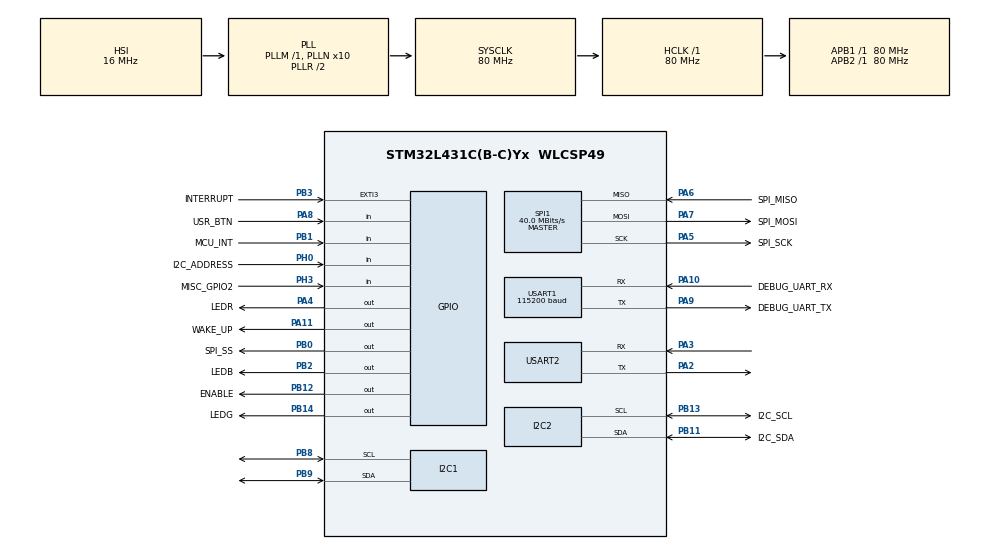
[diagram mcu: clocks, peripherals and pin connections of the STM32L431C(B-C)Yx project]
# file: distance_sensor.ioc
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Dma.Request0=SPI1_RX
Dma.Request1=SPI1_TX
Dma.Request2=USART1_RX
Dma.Request3=USART1_TX
Dma.Request4=USART2_RX
Dma.Request5=USART2_TX
Dma.SPI1_RX.0.Direction=DMA_PERIPH_TO_MEMORY
Dma.SPI1_RX.0.Instance=DMA1_Channel2
Dma.SPI1_RX.0.MemDataAlignment=DMA_MDATAALIGN_HALFWORD
Dma.SPI1_RX.0.MemInc=DMA_MINC_ENABLE
Dma.SPI1_RX.0.Mode=DMA_NORMAL
Dma.SPI1_RX.0.PeriphDataAlignment=DMA_PDATAALIGN_HALFWORD
Dma.SPI1_RX.0.PeriphInc=DMA_PINC_DISABLE
Dma.SPI1_RX.0.Priority=DMA_PRIORITY_LOW
Dma.SPI1_TX.1.Direction=DMA_MEMORY_TO_PERIPH
Dma.SPI1_TX.1.Instance=DMA1_Channel3
Dma.SPI1_TX.1.MemDataAlignment=DMA_MDATAALIGN_HALFWORD
Dma.SPI1_TX.1.MemInc=DMA_MINC_ENABLE
Dma.SPI1_TX.1.Mode=DMA_NORMAL
Dma.SPI1_TX.1.PeriphDataAlignment=DMA_PDATAALIGN_HALFWORD
Dma.SPI1_TX.1.PeriphInc=DMA_PINC_DISABLE
Dma.SPI1_TX.1.Priority=DMA_PRIORITY_LOW
Dma.USART1_RX.2.Direction=DMA_PERIPH_TO_MEMORY
Dma.USART1_RX.2.Instance=DMA2_Channel7
Dma.USART1_RX.2.MemDataAlignment=DMA_MDATAALIGN_BYTE
Dma.USART1_RX.2.MemInc=DMA_MINC_ENABLE
Dma.USART1_RX.2.Mode=DMA_NORMAL
Dma.USART1_RX.2.PeriphDataAlignment=DMA_PDATAALIGN_BYTE
Dma.USART1_RX.2.PeriphInc=DMA_PINC_DISABLE
Dma.USART1_RX.2.Priority=DMA_PRIORITY_LOW
Dma.USART1_TX.3.Direction=DMA_MEMORY_TO_PERIPH
Dma.USART1_TX.3.Instance=DMA2_Channel6
Dma.USART1_TX.3.MemDataAlignment=DMA_MDATAALIGN_BYTE
Dma.USART1_TX.3.MemInc=DMA_MINC_ENABLE
Dma.USART1_TX.3.Mode=DMA_NORMAL
Dma.USART1_TX.3.PeriphDataAlignment=DMA_PDATAALIGN_BYTE
Dma.USART1_TX.3.PeriphInc=DMA_PINC_DISABLE
Dma.USART1_TX.3.Priority=DMA_PRIORITY_LOW
Dma.USART2_RX.4.Direction=DMA_PERIPH_TO_MEMORY
Dma.USART2_RX.4.Instance=DMA1_Channel6
Dma.USART2_RX.4.MemDataAlignment=DMA_MDATAALIGN_BYTE
Dma.USART2_RX.4.MemInc=DMA_MINC_ENABLE
Dma.USART2_RX.4.Mode=DMA_NORMAL
Dma.USART2_RX.4.PeriphDataAlignment=DMA_PDATAALIGN_BYTE
Dma.USART2_RX.4.PeriphInc=DMA_PINC_DISABLE
Dma.USART2_RX.4.Priority=DMA_PRIORITY_LOW
Dma.USART2_TX.5.Direction=DMA_MEMORY_TO_PERIPH
Dma.USART2_TX.5.Instance=DMA1_Channel7
Dma.USART2_TX.5.MemDataAlignment=DMA_MDATAALIGN_BYTE
Dma.USART2_TX.5.MemInc=DMA_MINC_ENABLE
Dma.USART2_TX.5.Mode=DMA_NORMAL
Dma.USART2_TX.5.PeriphDataAlignment=DMA_PDATAALIGN_BYTE
Dma.USART2_TX.5.PeriphInc=DMA_PINC_DISABLE
Dma.USART2_TX.5.Priority=DMA_PRIORITY_LOW
I2C1.Timing=0x10D19CE4
I2C2.OwnAddress=0x52
I2C2.Timing=0x10D19CE4
Mcu.Family=STM32L4
Mcu.Name=STM32L431C(B-C)Yx
Mcu.Package=WLCSP49
NVIC.DMA1_Channel2_IRQn=true\:0\:0\:false\:false\:true\:false\:true\:true
NVIC.DMA1_Channel3_IRQn=true\:0\:0\:false\:false\:true\:false\:true\:true
NVIC.DMA1_Channel6_IRQn=true\:0\:0\:false\:false\:true\:false\:true\:true
NVIC.DMA1_Channel7_IRQn=true\:0\:0\:false\:false\:true\:false\:true\:true
NVIC.DMA2_Channel6_IRQn=true\:0\:0\:false\:false\:true\:false\:true\:true
NVIC.DMA2_Channel7_IRQn=true\:0\:0\:false\:false\:true\:false\:true\:true
NVIC.EXTI3_IRQn=true\:0\:0\:false\:false\:true\:true\:true\:true
NVIC.I2C2_EV_IRQn=true\:0\:0\:false\:false\:true\:true\:true\:true
NVIC.PriorityGroup=NVIC_PRIORITYGROUP_4
NVIC.RTC_Alarm_IRQn=true\:0\:0\:false\:false\:true\:true\:true\:true
NVIC.RTC_WKUP_IRQn=true\:0\:0\:false\:false\:true\:true\:true\:true
NVIC.USART1_IRQn=true\:0\:0\:false\:false\:true\:true\:true\:true
NVIC.USART2_IRQn=true\:0\:0\:false\:false\:true\:true\:true\:true
PA10.GPIO_Label=DEBUG_UART_RX
PA10.GPIO_PuPd=GPIO_PULLUP
PA10.Mode=Asynchronous
PA10.Signal=USART1_RX
PA11.GPIO_Label=WAKE_UP
PA11.GPIO_ModeDefaultOutputPP=GPIO_MODE_OUTPUT_PP
PA11.GPIO_PuPd=GPIO_PULLUP
PA11.GPIO_Speed=GPIO_SPEED_FREQ_VERY_HIGH
PA11.PinState=GPIO_PIN_SET
PA11.Signal=GPIO_Output
PA2.Mode=Asynchronous
PA2.Signal=USART2_TX
PA3.Mode=Asynchronous
PA3.Signal=USART2_RX
PA4.GPIO_Label=LEDR
PA4.PinState=GPIO_PIN_SET
PA4.Signal=GPIO_Output
PA5.GPIO_Label=SPI_SCK
PA5.Mode=Full_Duplex_Master
PA5.Signal=SPI1_SCK
PA6.GPIO_Label=SPI_MISO
PA6.Mode=Full_Duplex_Master
PA6.Signal=SPI1_MISO
PA7.GPIO_Label=SPI_MOSI
PA7.Mode=Full_Duplex_Master
PA7.Signal=SPI1_MOSI
PA8.GPIO_Label=USR_BTN
PA8.Signal=GPIO_Input
PA9.GPIO_Label=DEBUG_UART_TX
PA9.Mode=Asynchronous
PA9.Signal=USART1_TX
PB0.GPIO_Label=SPI_SS
PB0.GPIO_ModeDefaultOutputPP=GPIO_MODE_OUTPUT_PP
PB0.GPIO_Speed=GPIO_SPEED_FREQ_VERY_HIGH
PB0.Signal=GPIO_Output
PB1.GPIO_Label=MCU_INT
PB1.GPIO_PuPd=GPIO_PULLUP
PB1.Signal=GPIO_Input
PB11.GPIO_Label=I2C_SDA
PB11.GPIO_Pu=GPIO_PULLUP
PB11.Mode=I2C
PB11.Signal=I2C2_SDA
PB12.GPIO_Label=ENABLE
PB12.GPIO_Speed=GPIO_SPEED_FREQ_VERY_HIGH
PB12.PinState=GPIO_PIN_RESET
PB12.Signal=GPIO_Output
PB13.GPIO_Label=I2C_SCL
PB13.GPIO_Pu=GPIO_PULLUP
PB13.Mode=I2C
PB13.Signal=I2C2_SCL
PB14.GPIO_Label=LEDG
PB14.PinState=GPIO_PIN_SET
PB14.Signal=GPIO_Output
PB2.GPIO_Label=LEDB
PB2.PinState=GPIO_PIN_SET
PB2.Signal=GPIO_Output
PB3\ (JTDO-TRACESWO).GPIO_Label=INTERRUPT
PB3\ (JTDO-TRACESWO).GPIO_PuPd=GPIO_PULLDOWN
PB3\ (JTDO-TRACESWO).Signal=GPXTI3
PB8.Mode=I2C
PB8.Signal=I2C1_SCL
PB9.Mode=I2C
PB9.Signal=I2C1_SDA
PH0-OSC_IN\ (PH0).GPIO_Label=I2C_ADDRESS
PH0-OSC_IN\ (PH0).GPIO_PuPd=GPIO_PULLDOWN
PH0-OSC_IN\ (PH0).Signal=GPIO_Input
PH3-BOOT0.GPIO_Label=MISC_GPIO2
PH3-BOOT0.GPIO_PuPd=GPIO_PULLDOWN
PH3-BOOT0.Signal=GPIO_Input
ProjectManager.HeapSize=0x200
ProjectManager.StackSize=0x1400
ProjectManager.TargetToolchain=STM32CubeIDE
RCC.ADCFreq_Value=64000000
RCC.AHBFreq_Value=80000000
RCC.APB1Freq_Value=80000000
RCC.APB1TimFreq_Value=80000000
RCC.APB2Freq_Value=80000000
RCC.APB2TimFreq_Value=80000000
RCC.CortexFreq_Value=80000000
RCC.HCLKFreq_Value=80000000
RCC.HSE_VALUE=8000000
RCC.HSI48_VALUE=48000000
RCC.HSI_VALUE=16000000
RCC.LSE_VALUE=32768
RCC.MSI_VALUE=4000000
RCC.PLLN=10
RCC.PLLSourceVirtual=RCC_PLLSOURCE_HSI
RCC.SYSCLKFreq_VALUE=80000000
RCC.SYSCLKSource=RCC_SYSCLKSOURCE_PLLCLK
RCC.VCOOutputFreq_Value=160000000
RTC.Alarm-Alarm\ A=RTC_ALARM_A
RTC.AsynchPrediv=31
RTC.Format=RTC_FORMAT_BIN
RTC.SynchPrediv=999
SPI1.BaudRatePrescaler=SPI_BAUDRATEPRESCALER_2
SPI1.CalculateBaudRate=40.0 MBits/s
SPI1.DataSize=SPI_DATASIZE_16BIT
SPI1.Direction=SPI_DIRECTION_2LINES
SPI1.Mode=SPI_MODE_MASTER
SPI1.VirtualType=VM_MASTER
USART1.BaudRate=115200
USART1.VirtualMode-Asynchronous=VM_ASYNC
USART2.VirtualMode-Asynchronous=VM_ASYNC
VP_RTC_VS_RTC_Activate.Mode=RTC_Enabled
VP_RTC_VS_RTC_Alarm_A_Intern.Mode=Alarm A
VP_RTC_VS_RTC_Calendar.Mode=RTC_Calendar
VP_RTC_VS_RTC_WakeUp_intern.Mode=WakeUp
board=custom

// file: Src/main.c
/* USER CODE BEGIN Header */
/**
 ******************************************************************************
 * @file           : main.c
 * @brief          : Main program body
 ******************************************************************************
 * @attention
 *
 * <h2><center>&copy; Copyright (c) 2022 STMicroelectronics.
 * All rights reserved.</center></h2>
 *
 * This software component is licensed by ST under BSD 3-Clause license,
 * the "License"; You may not use this file except in compliance with the
 * License. You may obtain a copy of the License at:
 *                        opensource.org/licenses/BSD-3-Clause
 *
 ******************************************************************************
 */
/* USER CODE END Header */
#include "main.h"

/* USER CODE BEGIN Includes */

#include <inttypes.h>
#include <stdbool.h>
#include <stdio.h>
#include "ring_buffer.h"
#include "acc_integration.h"

/* USER CODE END Includes */

/* USER CODE BEGIN PD */

extern int acconeer_main(int argc, char *argv[]);

/* USER CODE END PD */

I2C_HandleTypeDef hi2c1;
I2C_HandleTypeDef hi2c2;

RTC_HandleTypeDef hrtc;

SPI_HandleTypeDef hspi1;
DMA_HandleTypeDef hdma_spi1_rx;
DMA_HandleTypeDef hdma_spi1_tx;

UART_HandleTypeDef huart1;
UART_HandleTypeDef huart2;
DMA_HandleTypeDef hdma_usart1_rx;
DMA_HandleTypeDef hdma_usart1_tx;
DMA_HandleTypeDef hdma_usart2_rx;
DMA_HandleTypeDef hdma_usart2_tx;

void SystemClock_Config(void);
static void MX_GPIO_Init(void);
static void MX_DMA_Init(void);
static void MX_SPI1_Init(void);
static void MX_I2C2_Init(void);
static void MX_USART1_UART_Init(void);
static void MX_RTC_Init(void);
static void MX_I2C1_Init(void);
static void MX_USART2_UART_Init(void);

int main(void)
{

  /* MCU Configuration--------------------------------------------------------*/

  /* Reset of all peripherals, Initializes the Flash interface and the Systick. */
  HAL_Init();

  /* Configure the system clock */
  SystemClock_Config();

  /* Initialize all configured peripherals */
  MX_GPIO_Init();
  MX_DMA_Init();
  MX_SPI1_Init();
  MX_I2C2_Init();
  MX_USART1_UART_Init();
  MX_RTC_Init();
  MX_I2C1_Init();
  MX_USART2_UART_Init();
  /* USER CODE BEGIN 2 */

	HAL_GPIO_TogglePin(LEDR_GPIO_Port, LEDR_Pin);
	HAL_Delay(1000);

	HAL_GPIO_TogglePin(LEDG_GPIO_Port, LEDG_Pin);
	HAL_Delay(1000);
	HAL_GPIO_TogglePin(LEDR_GPIO_Port, LEDR_Pin);
	HAL_Delay(1000);
	HAL_GPIO_TogglePin(LEDB_GPIO_Port, LEDB_Pin);
	HAL_Delay(1000);
	HAL_GPIO_TogglePin(LEDG_GPIO_Port, LEDG_Pin);
	HAL_Delay(1000);
	HAL_GPIO_TogglePin(LEDR_GPIO_Port, LEDR_Pin);
	HAL_Delay(1000);
	HAL_GPIO_TogglePin(LEDG_GPIO_Port, LEDG_Pin);
	HAL_Delay(1000);
	HAL_GPIO_TogglePin(LEDG_GPIO_Port, LEDG_Pin);
	HAL_GPIO_TogglePin(LEDR_GPIO_Port, LEDR_Pin);
	HAL_GPIO_TogglePin(LEDB_GPIO_Port, LEDB_Pin);

  //uart_start_ring_buffer();
	uart_start_ring_buffer();

  acconeer_main(0, NULL);
  /* USER CODE END 2 */

  /* Infinite loop */
	while (1){

    /* USER CODE BEGIN 3 */
        /* Drive PA2 LOW */
		//HAL_UART_Transmit_DMA(&huart2,(uint8_t *)at_cmd,sizeof(at_cmd) - 1);
		//HAL_Delay(1000);

		/* Small delay so frames are readable on scope/logic analyzer */
		HAL_Delay(3000);
	}
  /* USER CODE END 3 */
}

void SystemClock_Config(void)
{
  RCC_OscInitTypeDef RCC_OscInitStruct = {0};
  RCC_ClkInitTypeDef RCC_ClkInitStruct = {0};

  /** Configure the main internal regulator output voltage
  */
  if (HAL_PWREx_ControlVoltageScaling(PWR_REGULATOR_VOLTAGE_SCALE1) != HAL_OK)
  {
    Error_Handler();
  }

  /** Initializes the RCC Oscillators according to the specified parameters
  * in the RCC_OscInitTypeDef structure.
  */
  RCC_OscInitStruct.OscillatorType = RCC_OSCILLATORTYPE_HSI|RCC_OSCILLATORTYPE_LSI;
  RCC_OscInitStruct.HSIState = RCC_HSI_ON;
  RCC_OscInitStruct.HSICalibrationValue = RCC_HSICALIBRATION_DEFAULT;
  RCC_OscInitStruct.LSIState = RCC_LSI_ON;
  RCC_OscInitStruct.PLL.PLLState = RCC_PLL_ON;
  RCC_OscInitStruct.PLL.PLLSource = RCC_PLLSOURCE_HSI;
  RCC_OscInitStruct.PLL.PLLM = 1;
  RCC_OscInitStruct.PLL.PLLN = 10;
  RCC_OscInitStruct.PLL.PLLP = RCC_PLLP_DIV7;
  RCC_OscInitStruct.PLL.PLLQ = RCC_PLLQ_DIV2;
  RCC_OscInitStruct.PLL.PLLR = RCC_PLLR_DIV2;
  if (HAL_RCC_OscConfig(&RCC_OscInitStruct) != HAL_OK)
  {
    Error_Handler();
  }

  /** Initializes the CPU, AHB and APB buses clocks
  */
  RCC_ClkInitStruct.ClockType = RCC_CLOCKTYPE_HCLK|RCC_CLOCKTYPE_SYSCLK
                              |RCC_CLOCKTYPE_PCLK1|RCC_CLOCKTYPE_PCLK2;
  RCC_ClkInitStruct.SYSCLKSource = RCC_SYSCLKSOURCE_PLLCLK;
  RCC_ClkInitStruct.AHBCLKDivider = RCC_SYSCLK_DIV1;
  RCC_ClkInitStruct.APB1CLKDivider = RCC_HCLK_DIV1;
  RCC_ClkInitStruct.APB2CLKDivider = RCC_HCLK_DIV1;

  if (HAL_RCC_ClockConfig(&RCC_ClkInitStruct, FLASH_LATENCY_4) != HAL_OK)
  {
    Error_Handler();
  }
}

static void MX_I2C1_Init(void)
{

  hi2c1.Instance = I2C1;
  hi2c1.Init.Timing = 0x10D19CE4;
  hi2c1.Init.OwnAddress1 = 0;
  hi2c1.Init.AddressingMode = I2C_ADDRESSINGMODE_7BIT;
  hi2c1.Init.DualAddressMode = I2C_DUALADDRESS_DISABLE;
  hi2c1.Init.OwnAddress2 = 0;
  hi2c1.Init.OwnAddress2Masks = I2C_OA2_NOMASK;
  hi2c1.Init.GeneralCallMode = I2C_GENERALCALL_DISABLE;
  hi2c1.Init.NoStretchMode = I2C_NOSTRETCH_DISABLE;
  if (HAL_I2C_Init(&hi2c1) != HAL_OK)
  {
    Error_Handler();
  }

  /** Configure Analogue filter
  */
  if (HAL_I2CEx_ConfigAnalogFilter(&hi2c1, I2C_ANALOGFILTER_ENABLE) != HAL_OK)
  {
    Error_Handler();
  }

  /** Configure Digital filter
  */
  if (HAL_I2CEx_ConfigDigitalFilter(&hi2c1, 0) != HAL_OK)
  {
    Error_Handler();
  }

}

static void MX_I2C2_Init(void)
{

  hi2c2.Instance = I2C2;
  hi2c2.Init.Timing = 0x10D19CE4;
  hi2c2.Init.OwnAddress1 = 164;
  hi2c2.Init.AddressingMode = I2C_ADDRESSINGMODE_7BIT;
  hi2c2.Init.DualAddressMode = I2C_DUALADDRESS_DISABLE;
  hi2c2.Init.OwnAddress2 = 0;
  hi2c2.Init.OwnAddress2Masks = I2C_OA2_NOMASK;
  hi2c2.Init.GeneralCallMode = I2C_GENERALCALL_DISABLE;
  hi2c2.Init.NoStretchMode = I2C_NOSTRETCH_DISABLE;
  if (HAL_I2C_Init(&hi2c2) != HAL_OK)
  {
    Error_Handler();
  }

  /** Configure Analogue filter
  */
  if (HAL_I2CEx_ConfigAnalogFilter(&hi2c2, I2C_ANALOGFILTER_ENABLE) != HAL_OK)
  {
    Error_Handler();
  }

  /** Configure Digital filter
  */
  if (HAL_I2CEx_ConfigDigitalFilter(&hi2c2, 0) != HAL_OK)
  {
    Error_Handler();
  }

}

static void MX_RTC_Init(void)
{

  RTC_TimeTypeDef sTime = {0};
  RTC_DateTypeDef sDate = {0};
  RTC_AlarmTypeDef sAlarm = {0};

  /** Initialize RTC Only
  */
  hrtc.Instance = RTC;
  hrtc.Init.HourFormat = RTC_HOURFORMAT_24;
  hrtc.Init.AsynchPrediv = 31;
  hrtc.Init.SynchPrediv = 999;
  hrtc.Init.OutPut = RTC_OUTPUT_DISABLE;
  hrtc.Init.OutPutRemap = RTC_OUTPUT_REMAP_NONE;
  hrtc.Init.OutPutPolarity = RTC_OUTPUT_POLARITY_HIGH;
  hrtc.Init.OutPutType = RTC_OUTPUT_TYPE_OPENDRAIN;
  if (HAL_RTC_Init(&hrtc) != HAL_OK)
  {
    Error_Handler();
  }

  /** Initialize RTC and set the Time and Date
  */
  sTime.Hours = 0;
  sTime.Minutes = 0;
  sTime.Seconds = 0;
  sTime.DayLightSaving = RTC_DAYLIGHTSAVING_NONE;
  sTime.StoreOperation = RTC_STOREOPERATION_RESET;
  if (HAL_RTC_SetTime(&hrtc, &sTime, RTC_FORMAT_BIN) != HAL_OK)
  {
    Error_Handler();
  }
  sDate.WeekDay = RTC_WEEKDAY_MONDAY;
  sDate.Month = RTC_MONTH_JANUARY;
  sDate.Date = 1;
  sDate.Year = 0;

  if (HAL_RTC_SetDate(&hrtc, &sDate, RTC_FORMAT_BIN) != HAL_OK)
  {
    Error_Handler();
  }

  /** Enable the Alarm A
  */
  sAlarm.AlarmTime.Hours = 0;
  sAlarm.AlarmTime.Minutes = 0;
  sAlarm.AlarmTime.Seconds = 0;
  sAlarm.AlarmTime.SubSeconds = 0;
  sAlarm.AlarmTime.DayLightSaving = RTC_DAYLIGHTSAVING_NONE;
  sAlarm.AlarmTime.StoreOperation = RTC_STOREOPERATION_RESET;
  sAlarm.AlarmMask = RTC_ALARMMASK_NONE;
  sAlarm.AlarmSubSecondMask = RTC_ALARMSUBSECONDMASK_ALL;
  sAlarm.AlarmDateWeekDaySel = RTC_ALARMDATEWEEKDAYSEL_DATE;
  sAlarm.AlarmDateWeekDay = 1;
  sAlarm.Alarm = RTC_ALARM_A;
  if (HAL_RTC_SetAlarm_IT(&hrtc, &sAlarm, RTC_FORMAT_BIN) != HAL_OK)
  {
    Error_Handler();
  }

}

static void MX_SPI1_Init(void)
{

  /* SPI1 parameter configuration*/
  hspi1.Instance = SPI1;
  hspi1.Init.Mode = SPI_MODE_MASTER;
  hspi1.Init.Direction = SPI_DIRECTION_2LINES;
  hspi1.Init.DataSize = SPI_DATASIZE_16BIT;
  hspi1.Init.CLKPolarity = SPI_POLARITY_LOW;
  hspi1.Init.CLKPhase = SPI_PHASE_1EDGE;
  hspi1.Init.NSS = SPI_NSS_SOFT;
  hspi1.Init.BaudRatePrescaler = SPI_BAUDRATEPRESCALER_2;
  hspi1.Init.FirstBit = SPI_FIRSTBIT_MSB;
  hspi1.Init.TIMode = SPI_TIMODE_DISABLE;
  hspi1.Init.CRCCalculation = SPI_CRCCALCULATION_DISABLE;
  hspi1.Init.CRCPolynomial = 7;
  hspi1.Init.CRCLength = SPI_CRC_LENGTH_DATASIZE;
  hspi1.Init.NSSPMode = SPI_NSS_PULSE_ENABLE;
  if (HAL_SPI_Init(&hspi1) != HAL_OK)
  {
    Error_Handler();
  }

}

static void MX_USART1_UART_Init(void)
{

  huart1.Instance = USART1;
  huart1.Init.BaudRate = 115200;
  huart1.Init.WordLength = UART_WORDLENGTH_8B;
  huart1.Init.StopBits = UART_STOPBITS_1;
  huart1.Init.Parity = UART_PARITY_NONE;
  huart1.Init.Mode = UART_MODE_TX_RX;
  huart1.Init.HwFlowCtl = UART_HWCONTROL_NONE;
  huart1.Init.OverSampling = UART_OVERSAMPLING_16;
  huart1.Init.OneBitSampling = UART_ONE_BIT_SAMPLE_DISABLE;
  huart1.AdvancedInit.AdvFeatureInit = UART_ADVFEATURE_NO_INIT;
  if (HAL_UART_Init(&huart1) != HAL_OK)
  {
    Error_Handler();
  }

}

static void MX_USART2_UART_Init(void)
{

  huart2.Instance = USART2;
  huart2.Init.BaudRate = 115200;
  huart2.Init.WordLength = UART_WORDLENGTH_8B;
  huart2.Init.StopBits = UART_STOPBITS_1;
  huart2.Init.Parity = UART_PARITY_NONE;
  huart2.Init.Mode = UART_MODE_TX_RX;
  huart2.Init.HwFlowCtl = UART_HWCONTROL_NONE;
  huart2.Init.OverSampling = UART_OVERSAMPLING_16;
  huart2.Init.OneBitSampling = UART_ONE_BIT_SAMPLE_DISABLE;
  huart2.AdvancedInit.AdvFeatureInit = UART_ADVFEATURE_NO_INIT;
  if (HAL_UART_Init(&huart2) != HAL_OK)
  {
    Error_Handler();
  }

}

static void MX_DMA_Init(void)
{

  /* DMA controller clock enable */
  __HAL_RCC_DMA1_CLK_ENABLE();
  __HAL_RCC_DMA2_CLK_ENABLE();

  /* DMA interrupt init */
  /* DMA1_Channel2_IRQn interrupt configuration */
  HAL_NVIC_SetPriority(DMA1_Channel2_IRQn, 0, 0);
  HAL_NVIC_EnableIRQ(DMA1_Channel2_IRQn);
  /* DMA1_Channel3_IRQn interrupt configuration */
  HAL_NVIC_SetPriority(DMA1_Channel3_IRQn, 0, 0);
  HAL_NVIC_EnableIRQ(DMA1_Channel3_IRQn);
  /* DMA1_Channel6_IRQn interrupt configuration */
  HAL_NVIC_SetPriority(DMA1_Channel6_IRQn, 0, 0);
  HAL_NVIC_EnableIRQ(DMA1_Channel6_IRQn);
  /* DMA1_Channel7_IRQn interrupt configuration */
  HAL_NVIC_SetPriority(DMA1_Channel7_IRQn, 0, 0);
  HAL_NVIC_EnableIRQ(DMA1_Channel7_IRQn);
  /* DMA2_Channel6_IRQn interrupt configuration */
  HAL_NVIC_SetPriority(DMA2_Channel6_IRQn, 0, 0);
  HAL_NVIC_EnableIRQ(DMA2_Channel6_IRQn);
  /* DMA2_Channel7_IRQn interrupt configuration */
  HAL_NVIC_SetPriority(DMA2_Channel7_IRQn, 0, 0);
  HAL_NVIC_EnableIRQ(DMA2_Channel7_IRQn);

}

static void MX_GPIO_Init(void)
{
  GPIO_InitTypeDef GPIO_InitStruct = {0};

  /* GPIO Ports Clock Enable */
  __HAL_RCC_GPIOB_CLK_ENABLE();
  __HAL_RCC_GPIOH_CLK_ENABLE();
  __HAL_RCC_GPIOA_CLK_ENABLE();

  /*Configure GPIO pin Output Level */
  HAL_GPIO_WritePin(GPIOA, WAKE_UP_Pin|LEDR_Pin, GPIO_PIN_SET);

  /*Configure GPIO pin Output Level */
  HAL_GPIO_WritePin(GPIOB, LEDG_Pin|LEDB_Pin, GPIO_PIN_SET);

  /*Configure GPIO pin Output Level */
  HAL_GPIO_WritePin(GPIOB, ENABLE_Pin|SPI_SS_Pin, GPIO_PIN_RESET);

  /*Configure GPIO pin : INTERRUPT_Pin */
  GPIO_InitStruct.Pin = INTERRUPT_Pin;
  GPIO_InitStruct.Mode = GPIO_MODE_IT_RISING;
  GPIO_InitStruct.Pull = GPIO_PULLDOWN;
  HAL_GPIO_Init(INTERRUPT_GPIO_Port, &GPIO_InitStruct);

  /*Configure GPIO pins : MISC_GPIO2_Pin I2C_ADDRESS_Pin */
  GPIO_InitStruct.Pin = MISC_GPIO2_Pin|I2C_ADDRESS_Pin;
  GPIO_InitStruct.Mode = GPIO_MODE_INPUT;
  GPIO_InitStruct.Pull = GPIO_PULLDOWN;
  HAL_GPIO_Init(GPIOH, &GPIO_InitStruct);

  /*Configure GPIO pin : WAKE_UP_Pin */
  GPIO_InitStruct.Pin = WAKE_UP_Pin;
  GPIO_InitStruct.Mode = GPIO_MODE_OUTPUT_PP;
  GPIO_InitStruct.Pull = GPIO_PULLUP;
  GPIO_InitStruct.Speed = GPIO_SPEED_FREQ_VERY_HIGH;
  HAL_GPIO_Init(WAKE_UP_GPIO_Port, &GPIO_InitStruct);

  /*Configure GPIO pin : USR_BTN_Pin */
  GPIO_InitStruct.Pin = USR_BTN_Pin;
  GPIO_InitStruct.Mode = GPIO_MODE_INPUT;
  GPIO_InitStruct.Pull = GPIO_NOPULL;
  HAL_GPIO_Init(USR_BTN_GPIO_Port, &GPIO_InitStruct);

  /*Configure GPIO pins : LEDG_Pin LEDB_Pin */
  GPIO_InitStruct.Pin = LEDG_Pin|LEDB_Pin;
  GPIO_InitStruct.Mode = GPIO_MODE_OUTPUT_PP;
  GPIO_InitStruct.Pull = GPIO_NOPULL;
  GPIO_InitStruct.Speed = GPIO_SPEED_FREQ_LOW;
  HAL_GPIO_Init(GPIOB, &GPIO_InitStruct);

  /*Configure GPIO pins : ENABLE_Pin SPI_SS_Pin */
  GPIO_InitStruct.Pin = ENABLE_Pin|SPI_SS_Pin;
  GPIO_InitStruct.Mode = GPIO_MODE_OUTPUT_PP;
  GPIO_InitStruct.Pull = GPIO_NOPULL;
  GPIO_InitStruct.Speed = GPIO_SPEED_FREQ_VERY_HIGH;
  HAL_GPIO_Init(GPIOB, &GPIO_InitStruct);

  /*Configure GPIO pin : MCU_INT_Pin */
  GPIO_InitStruct.Pin = MCU_INT_Pin;
  GPIO_InitStruct.Mode = GPIO_MODE_INPUT;
  GPIO_InitStruct.Pull = GPIO_PULLUP;
  HAL_GPIO_Init(MCU_INT_GPIO_Port, &GPIO_InitStruct);

  /*Configure GPIO pin : LEDR_Pin */
  GPIO_InitStruct.Pin = LEDR_Pin;
  GPIO_InitStruct.Mode = GPIO_MODE_OUTPUT_PP;
  GPIO_InitStruct.Pull = GPIO_NOPULL;
  GPIO_InitStruct.Speed = GPIO_SPEED_FREQ_LOW;
  HAL_GPIO_Init(LEDR_GPIO_Port, &GPIO_InitStruct);

  /* EXTI interrupt init*/
  HAL_NVIC_SetPriority(EXTI3_IRQn, 0, 0);
  HAL_NVIC_EnableIRQ(EXTI3_IRQn);

}

void Error_Handler(void)
{
  /* USER CODE BEGIN Error_Handler_Debug */
	/* User can add his own implementation to report the HAL error return state */
	NVIC_SystemReset();
  /* USER CODE END Error_Handler_Debug */
}
